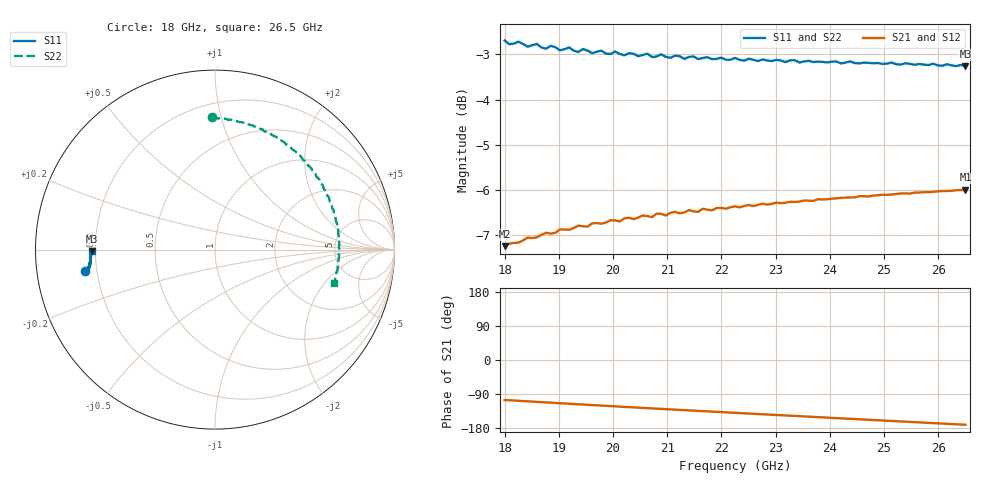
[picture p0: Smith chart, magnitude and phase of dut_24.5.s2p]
# GHZ S RI R 50.0
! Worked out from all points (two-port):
!   101 points, 18 GHz to 26.5 GHz, reference 50 ohm
!   highest |S21| = -6.00 dB at 26.5 GHz (marker M1); lowest = -7.2 dB at 18 GHz (marker M2)
!   |S21| within 3 dB of the highest: start of sweep to end of sweep
!   lowest |S11| = -3.3 dB at 26.5 GHz (marker M3), VSWR 5.39, Z = 9.27 - j0.262 ohm
!   |S11| at or under -10 dB: nowhere
!   |S22| runs from -3.2 to -2.6 dB; largest |S21 - S12| = 0.00037
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18  -0.7242 -0.1179  -0.1175 -0.418  -0.1175 -0.4181  -0.0192 0.7383
18.17  -0.7168 -0.1261  -0.1264 -0.4192  -0.1263 -0.4192  0.013 0.7306
18.34  -0.718 -0.1142  -0.1403 -0.4176  -0.1403 -0.4177  0.0457 0.7317
18.51  -0.7145 -0.1225  -0.149 -0.4175  -0.1489 -0.4175  0.0731 0.7224
19.02  -0.7067 -0.1112  -0.1852 -0.4136  -0.1851 -0.4134  0.1693 0.7054
19.445  -0.7092 -0.1106  -0.2098 -0.4058  -0.2096 -0.4057  0.2301 0.6795
19.615  -0.7024 -0.1051  -0.2234 -0.4023  -0.2232 -0.4023  0.2668 0.6685
20.04  -0.7059 -0.1024  -0.2468 -0.3925  -0.2466 -0.3925  0.32 0.6366
20.21  -0.6993 -0.0996  -0.2595 -0.3873  -0.2593 -0.3874  0.3554 0.6187
20.295  -0.703 -0.1017  -0.2623 -0.3861  -0.262 -0.3862  0.3572 0.6118
20.635  -0.7032 -0.0935  -0.2816 -0.3748  -0.2814 -0.3747  0.4016 0.5846
20.805  -0.6981 -0.0934  -0.2934 -0.3694  -0.2931 -0.3694  0.4306 0.5588
20.89  -0.7022 -0.0924  -0.2958 -0.3672  -0.2956 -0.3672  0.4328 0.557
21.57  -0.695 -0.0796  -0.3315 -0.3388  -0.3314 -0.3388  0.5149 0.4768
21.995  -0.6983 -0.0752  -0.3524 -0.324  -0.3523 -0.324  0.549 0.4339
22.165  -0.6944 -0.0751  -0.3611 -0.3154  -0.361 -0.3154  0.5659 0.4033
22.25  -0.6979 -0.0731  -0.3646 -0.3132  -0.3645 -0.3133  0.5715 0.4018
22.845  -0.6945 -0.0606  -0.3892 -0.2854  -0.3892 -0.2854  0.6189 0.325
23.695  -0.6925 -0.0504  -0.4228 -0.2423  -0.4226 -0.2424  0.6624 0.2045
24.375  -0.6944 -0.0418  -0.4463 -0.2063  -0.4462 -0.2062  0.6859 0.1124
25.14  -0.6928 -0.0317  -0.4679 -0.1626  -0.4676 -0.1627  0.6927 0.00364
26.5  -0.6871 -0.00745  -0.495 -0.0796  -0.4948 -0.0797  0.6639 -0.1875
